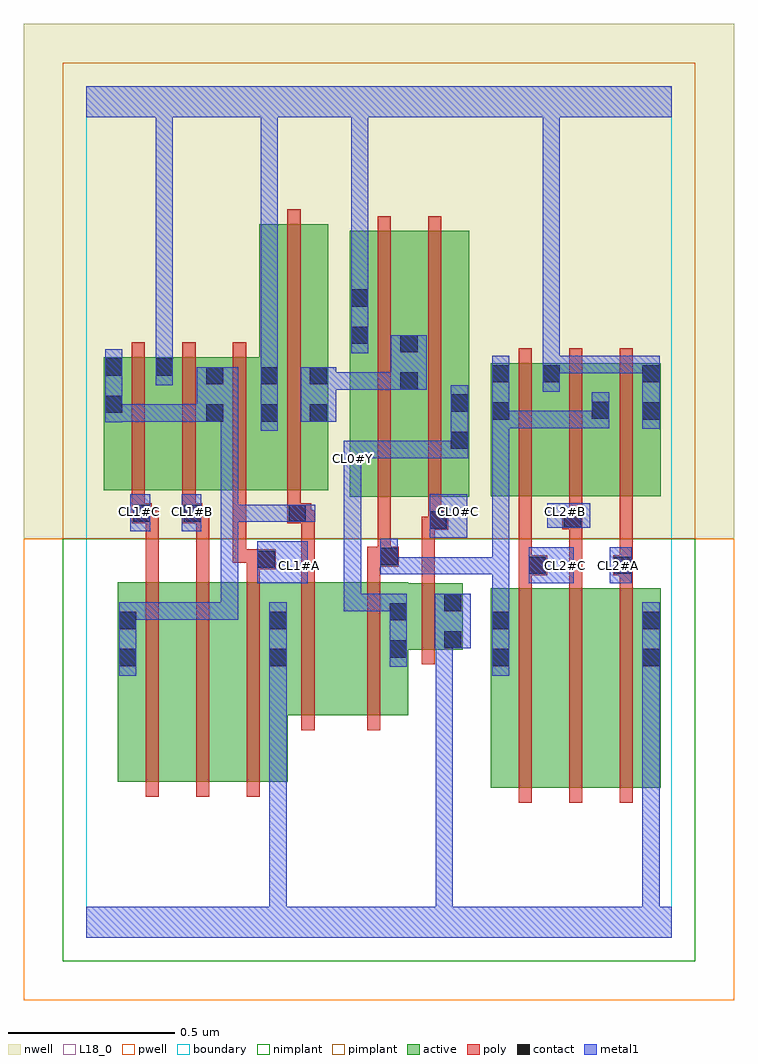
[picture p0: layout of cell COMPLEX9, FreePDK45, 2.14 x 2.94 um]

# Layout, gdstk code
import gdstk
lib = gdstk.Library(unit=1e-6, precision=1e-09)
def R(c, l, rs):  # rectangles x0, y0, x1, y1
    for r in rs: c.add(gdstk.rectangle(r[:2], r[2:], *l))
def A(c, l, x, y, w, h, nx, ny, dx, dy):  # array of equal rectangles
    R(c, l, [(x+i*dx, y+j*dy, x+i*dx+w, y+j*dy+h) for i in range(nx) for j in range(ny)])
active = (1, 0)
pwell = (2, 0)
nwell = (3, 0)
nimplant = (4, 0)
pimplant = (5, 0)
poly = (9, 0)
contact = (10, 0)
metal1 = (11, 0)
L18_0 = (18, 0)
boundary = (235, 0)

complex9 = lib.new_cell('COMPLEX9')
R(complex9, active, [(1.216,0.45,1.396,1.05), (1.396,0.45,1.548,1.05), (1.548,0.45,1.728,1.05), (0.094,0.468,0.274,1.068), (0.274,0.468,0.426,1.068), (0.426,0.468,0.606,1.068), (0.094,0.556,0.154,1.068), (1.216,0.556,1.276,1.05), (1.668,0.556,1.728,1.05), (0.546,0.668,0.742,1.068), (0.742,0.668,0.968,1.068), (0.908,0.668,0.968,1.066), (0.546,0.756,0.606,0.984), (0.908,0.866,1.132,1.066), (1.072,0.866,1.132,1.066), (0.792,1.326,0.852,2.044), (0.792,1.326,1,2.126), (0.94,1.326,1.152,2.126), (1.092,1.326,1.152,2.044), (1.216,1.328,1.276,1.728), (1.216,1.328,1.428,1.728), (1.368,1.328,1.428,1.726), (1.368,1.328,1.576,1.728), (1.516,1.328,1.728,1.728), (1.516,1.328,1.576,1.644), (1.668,1.328,1.728,1.728), (0.052,1.346,0.112,1.746), (0.052,1.346,0.264,1.746), (0.204,1.346,0.264,1.746), (0.204,1.346,0.416,1.746), (0.356,1.346,0.58,1.746), (0.356,1.346,0.416,1.72), (0.52,1.346,0.728,2.146), (0.52,1.346,0.58,1.872), (0.668,1.346,0.728,2.146), (0.94,1.644,1,2.044)])
R(complex9, pwell, [(-0.188,-0.188,1.948,1.2)])
R(complex9, nwell, [(-0.188,1.2,1.948,2.748)])
R(complex9, nimplant, [(-0.072,-0.072,1.832,1.2)])
R(complex9, pimplant, [(-0.072,1.2,1.832,2.632)])
A(complex9, poly, 1.3, 0.406, 0.04, 0.688, 3, 1, 0.152, 0)
A(complex9, poly, 0.178, 0.424, 0.04, 0.688, 3, 1, 0.152, 0)
A(complex9, poly, 1.3, 1.284, 0.04, 0.488, 3, 1, 0.152, 0)
A(complex9, poly, 0.136, 1.302, 0.04, 0.488, 3, 1, 0.152, 0)
R(complex9, poly, [(0.646,0.624,0.686,1.112), (0.844,0.624,0.884,1.112), (1.008,0.822,1.048,1.11), (1.3,1.054,1.34,1.13), (1.452,1.054,1.492,1.268), (1.604,1.054,1.644,1.13), (1.008,1.07,1.048,1.266), (0.178,1.072,0.218,1.286), (0.33,1.072,0.37,1.286), (0.482,1.072,0.522,1.148), (0.646,1.072,0.686,1.286), (0.844,1.072,0.884,1.156), (1.3,1.09,1.386,1.15), (1.584,1.09,1.644,1.15), (0.482,1.108,0.57,1.168), (1.3,1.11,1.34,1.324), (1.3,1.11,1.34,1.15), (1.3,1.11,1.34,1.15), (1.604,1.11,1.644,1.324), (1.604,1.11,1.644,1.15), (1.604,1.11,1.644,1.15), (0.844,1.116,0.94,1.176), (0.44,1.128,0.48,1.342), (0.44,1.128,0.522,1.168), (0.482,1.128,0.522,1.168), (0.876,1.136,0.916,1.176), (0.876,1.136,0.916,1.176), (0.876,1.136,0.916,1.322), (1.008,1.226,1.068,1.266), (1.028,1.226,1.068,1.266), (1.028,1.226,1.088,1.286), (1.432,1.228,1.492,1.288), (1.452,1.228,1.492,1.268), (1.452,1.228,1.492,1.268), (0.136,1.246,0.196,1.306), (0.156,1.246,0.196,1.286), (0.156,1.246,0.218,1.286), (0.288,1.246,0.348,1.306), (0.308,1.246,0.348,1.286), (0.308,1.246,0.37,1.286), (0.604,1.246,0.676,1.306), (0.636,1.246,0.676,1.286), (0.636,1.246,0.686,1.286), (1.028,1.246,1.068,1.322), (1.452,1.248,1.492,1.324), (0.136,1.266,0.176,1.342), (0.288,1.266,0.328,1.342), (0.604,1.266,0.644,1.342), (0.876,1.282,0.916,2.17), (1.028,1.282,1.068,2.17), (0.604,1.302,0.644,2.19)])
R(complex9, contact, [(0.098,0.816,0.15,0.868), (0.55,0.816,0.602,0.868), (1.22,0.816,1.272,0.868), (1.672,0.816,1.724,0.868), (0.912,0.842,0.964,0.894), (1.076,0.87,1.128,0.922), (0.098,0.928,0.15,0.98), (0.55,0.928,0.602,0.98), (1.22,0.928,1.272,0.98), (1.672,0.928,1.724,0.98), (0.912,0.954,0.964,1.006), (1.076,0.982,1.128,1.034), (1.33,1.094,1.382,1.146), (1.588,1.094,1.64,1.146), (0.514,1.112,0.566,1.164), (0.884,1.12,0.936,1.172), (1.032,1.23,1.084,1.282), (1.436,1.232,1.488,1.284), (0.14,1.25,0.192,1.302), (0.292,1.25,0.344,1.302), (0.608,1.25,0.66,1.302), (1.096,1.47,1.148,1.522), (0.36,1.552,0.412,1.604), (0.524,1.552,0.576,1.604), (0.672,1.552,0.724,1.604), (1.22,1.558,1.272,1.61), (1.672,1.558,1.724,1.61), (1.52,1.56,1.572,1.612), (0.056,1.578,0.108,1.63), (1.096,1.582,1.148,1.634), (0.944,1.648,0.996,1.7), (0.36,1.664,0.412,1.716), (0.524,1.664,0.576,1.716), (0.672,1.664,0.724,1.716), (1.22,1.67,1.272,1.722), (1.372,1.67,1.424,1.722), (1.672,1.67,1.724,1.722), (0.056,1.69,0.108,1.742), (0.208,1.69,0.26,1.742), (0.944,1.76,0.996,1.812), (0.796,1.786,0.848,1.838), (0.796,1.898,0.848,1.95)])
R(complex9, metal1, [(0,0,1.76,0.092), (0.55,0.04,0.602,0.092), (0.55,0.04,0.602,0.092), (0.55,0.04,0.602,0.092), (0.55,0.04,0.602,0.092), (0.55,0.04,0.602,0.092), (0.55,0.04,0.602,0.092), (0.55,0.04,0.602,0.092), (0.55,0.04,0.602,0.092), (0.55,0.04,0.602,0.84), (1.05,0.04,1.102,0.092), (1.05,0.04,1.102,0.092), (1.05,0.04,1.102,0.092), (1.05,0.04,1.102,0.092), (1.05,0.04,1.102,0.202), (1.672,0.04,1.724,0.092), (1.672,0.04,1.724,0.092), (1.672,0.04,1.724,0.092), (1.672,0.04,1.724,0.092), (1.672,0.04,1.724,0.092), (1.672,0.04,1.724,0.092), (1.672,0.04,1.724,0.092), (1.672,0.04,1.724,0.092), (1.672,0.04,1.724,0.84), (1.05,0.15,1.102,0.202), (1.05,0.15,1.102,0.202), (1.05,0.15,1.102,0.202), (1.05,0.15,1.102,0.202), (1.05,0.15,1.102,0.202), (1.05,0.15,1.102,0.922), (0.098,0.788,0.15,1.008), (0.55,0.788,0.602,1.008), (1.22,0.788,1.272,1.008), (1.672,0.788,1.724,1.008), (0.912,0.814,0.964,1.034), (1.048,0.87,1.156,1.034), (1.05,0.87,1.102,0.922), (1.05,0.87,1.102,0.922), (1.05,0.87,1.102,0.922), (1.05,0.87,1.102,0.922), (1.05,0.87,1.102,0.922), (1.05,0.87,1.102,0.922), (0.098,0.956,0.15,1.008), (0.098,0.956,0.15,1.008), (0.098,0.956,0.274,1.008), (0.222,0.956,0.274,1.008), (0.222,0.956,0.274,1.008), (0.222,0.956,0.274,1.008), (0.222,0.956,0.456,1.008), (0.404,0.956,0.456,1.008), (0.404,0.956,0.456,1.008), (0.404,0.956,0.456,1.008), (0.404,0.956,0.456,1.302), (1.22,0.956,1.272,1.144), (0.774,0.982,0.826,1.034), (0.774,0.982,0.964,1.034), (0.774,0.982,0.826,1.438), (0.912,0.982,0.964,1.034), (0.912,0.982,0.964,1.034), (0.514,1.066,0.666,1.192), (1.33,1.066,1.466,1.174), (1.574,1.066,1.64,1.174), (0.884,1.092,0.936,1.144), (0.884,1.092,0.936,1.144), (0.884,1.092,0.936,1.2), (0.884,1.092,1.162,1.144), (1.11,1.092,1.162,1.144), (1.11,1.092,1.162,1.144), (1.11,1.092,1.162,1.144), (1.11,1.092,1.272,1.144), (1.22,1.092,1.272,1.144), (1.22,1.092,1.272,1.144), (1.22,1.092,1.272,1.144), (1.22,1.092,1.272,1.582), (1.032,1.202,1.146,1.334), (0.132,1.222,0.192,1.334), (0.286,1.222,0.346,1.334), (1.386,1.232,1.516,1.306), (0.404,1.25,0.456,1.302), (0.404,1.25,0.456,1.302), (0.404,1.25,0.456,1.302), (0.404,1.25,0.586,1.302), (0.404,1.25,0.456,1.604), (0.534,1.25,0.586,1.302), (0.534,1.25,0.632,1.302), (0.58,1.25,0.688,1.302), (0.774,1.386,0.826,1.494), (0.774,1.442,0.826,1.494), (0.774,1.442,0.826,1.494), (0.774,1.442,0.826,1.494), (0.774,1.442,0.826,1.494), (0.774,1.442,0.936,1.494), (0.884,1.442,0.936,1.494), (0.884,1.442,0.936,1.494), (0.884,1.442,0.936,1.494), (0.884,1.442,1.148,1.494), (1.096,1.442,1.148,1.494), (1.096,1.442,1.148,1.494), (1.096,1.442,1.148,1.662), (0.524,1.524,0.576,1.744), (1.22,1.53,1.272,1.75), (1.672,1.53,1.724,1.75), (1.22,1.532,1.272,1.584), (1.22,1.532,1.272,1.584), (1.22,1.532,1.382,1.584), (1.33,1.532,1.382,1.584), (1.33,1.532,1.382,1.584), (1.33,1.532,1.382,1.584), (1.33,1.532,1.572,1.584), (1.52,1.532,1.572,1.64), (0.056,1.55,0.108,1.77), (0.056,1.552,0.108,1.604), (0.056,1.552,0.108,1.604), (0.056,1.552,0.274,1.604), (0.222,1.552,0.274,1.604), (0.222,1.552,0.274,1.604), (0.222,1.552,0.274,1.604), (0.222,1.552,0.384,1.604), (0.332,1.552,0.456,1.716), (0.644,1.552,0.752,1.716), (1.372,1.642,1.424,1.75), (0.7,1.648,0.752,1.7), (0.7,1.648,0.752,1.7), (0.7,1.648,0.968,1.7), (0.916,1.648,0.968,1.7), (0.916,1.648,0.968,1.7), (0.916,1.648,1.024,1.812), (0.208,1.662,0.26,1.77), (0.524,1.692,0.576,1.744), (0.524,1.692,0.576,1.744), (0.524,1.692,0.576,1.744), (0.524,1.692,0.576,1.744), (0.524,1.692,0.576,2.52), (1.372,1.698,1.424,1.75), (1.372,1.698,1.424,1.75), (1.372,1.698,1.424,1.75), (1.372,1.698,1.424,1.75), (1.372,1.698,1.424,1.75), (1.372,1.698,1.424,1.75), (1.372,1.698,1.424,1.75), (1.372,1.698,1.424,1.75), (1.372,1.698,1.534,1.75), (1.372,1.698,1.424,2.52), (1.482,1.698,1.534,1.75), (1.482,1.698,1.724,1.75), (1.672,1.698,1.724,1.75), (1.672,1.698,1.724,1.75), (0.208,1.718,0.26,1.77), (0.208,1.718,0.26,1.77), (0.208,1.718,0.26,2.52), (0.796,1.758,0.848,1.978), (0.796,1.926,0.848,1.978), (0.796,1.926,0.848,1.978), (0.796,1.926,0.848,1.978), (0.796,1.926,0.848,1.978), (0.796,1.926,0.848,1.978), (0.796,1.926,0.848,1.978), (0.796,1.926,0.848,2.52), (0,2.468,1.76,2.56), (0.208,2.468,0.26,2.52), (0.208,2.468,0.26,2.52), (0.208,2.468,0.26,2.52), (0.208,2.468,0.26,2.52), (0.208,2.468,0.26,2.52), (0.208,2.468,0.26,2.52), (0.208,2.468,0.26,2.52), (0.208,2.468,0.26,2.52), (0.208,2.468,0.26,2.52), (0.208,2.468,0.26,2.52), (0.208,2.468,0.26,2.52), (0.208,2.468,0.26,2.52), (0.208,2.468,0.26,2.52), (0.208,2.468,0.26,2.52), (0.524,2.468,0.576,2.52), (0.524,2.468,0.576,2.52), (0.524,2.468,0.576,2.52), (0.524,2.468,0.576,2.52), (0.796,2.468,0.848,2.52), (0.796,2.468,0.848,2.52), (1.372,2.468,1.424,2.52), (1.372,2.468,1.424,2.52), (1.372,2.468,1.424,2.52), (1.372,2.468,1.424,2.52), (1.372,2.468,1.424,2.52), (1.372,2.468,1.424,2.52), (1.372,2.468,1.424,2.52), (1.372,2.468,1.424,2.52), (1.372,2.468,1.424,2.52), (1.372,2.468,1.424,2.52)])
R(complex9, L18_0, [(0,0,1.76,0.092), (0.55,0.04,0.602,0.092), (0.55,0.04,0.602,0.092), (0.55,0.04,0.602,0.092), (0.55,0.04,0.602,0.092), (0.55,0.04,0.602,0.092), (0.55,0.04,0.602,0.092), (0.55,0.04,0.602,0.092), (0.55,0.04,0.602,0.092), (0.55,0.04,0.602,0.84), (1.05,0.04,1.102,0.092), (1.05,0.04,1.102,0.092), (1.05,0.04,1.102,0.092), (1.05,0.04,1.102,0.092), (1.05,0.04,1.102,0.202), (1.672,0.04,1.724,0.092), (1.672,0.04,1.724,0.092), (1.672,0.04,1.724,0.092), (1.672,0.04,1.724,0.092), (1.672,0.04,1.724,0.092), (1.672,0.04,1.724,0.092), (1.672,0.04,1.724,0.092), (1.672,0.04,1.724,0.092), (1.672,0.04,1.724,0.84), (1.05,0.15,1.102,0.202), (1.05,0.15,1.102,0.202), (1.05,0.15,1.102,0.202), (1.05,0.15,1.102,0.202), (1.05,0.15,1.102,0.202), (1.05,0.15,1.102,0.922), (0.55,0.788,0.602,1.008), (1.672,0.788,1.724,1.008), (0.912,0.814,0.964,1.034), (1.048,0.87,1.156,1.034), (1.05,0.87,1.102,0.922), (1.05,0.87,1.102,0.922), (1.05,0.87,1.102,0.922), (1.05,0.87,1.102,0.922), (1.05,0.87,1.102,0.922), (1.05,0.87,1.102,0.922), (0.774,0.982,0.826,1.034), (0.774,0.982,0.826,1.438), (0.774,0.982,0.964,1.034), (0.912,0.982,0.964,1.034), (0.912,0.982,0.964,1.034), (0.514,1.066,0.666,1.192), (1.33,1.066,1.466,1.174), (1.574,1.066,1.64,1.174), (0.614,1.094,0.666,1.146), (1.414,1.094,1.466,1.146), (1.574,1.094,1.626,1.146), (1.032,1.202,1.146,1.334), (0.132,1.222,0.192,1.334), (0.286,1.222,0.346,1.334), (1.386,1.232,1.516,1.306), (0.134,1.254,0.186,1.306), (0.294,1.254,0.346,1.306), (1.094,1.254,1.146,1.306), (1.414,1.254,1.466,1.306), (0.774,1.386,0.826,1.494), (0.774,1.414,0.826,1.466), (0.774,1.442,0.826,1.494), (0.774,1.442,0.826,1.494), (0.774,1.442,0.826,1.494), (0.774,1.442,0.826,1.494), (0.774,1.442,0.936,1.494), (0.884,1.442,0.936,1.494), (0.884,1.442,0.936,1.494), (0.884,1.442,0.936,1.494), (0.884,1.442,1.148,1.494), (1.096,1.442,1.148,1.494), (1.096,1.442,1.148,1.494), (1.096,1.442,1.148,1.662), (0.524,1.524,0.576,1.744), (1.672,1.53,1.724,1.75), (1.372,1.642,1.424,1.75), (0.208,1.662,0.26,1.77), (0.524,1.692,0.576,1.744), (0.524,1.692,0.576,1.744), (0.524,1.692,0.576,1.744), (0.524,1.692,0.576,1.744), (0.524,1.692,0.576,2.52), (1.372,1.698,1.424,1.75), (1.372,1.698,1.424,1.75), (1.372,1.698,1.424,1.75), (1.372,1.698,1.424,1.75), (1.372,1.698,1.424,1.75), (1.372,1.698,1.424,1.75), (1.372,1.698,1.424,1.75), (1.372,1.698,1.424,1.75), (1.372,1.698,1.534,1.75), (1.372,1.698,1.424,2.52), (1.482,1.698,1.534,1.75), (1.482,1.698,1.724,1.75), (1.672,1.698,1.724,1.75), (1.672,1.698,1.724,1.75), (0.208,1.718,0.26,1.77), (0.208,1.718,0.26,1.77), (0.208,1.718,0.26,2.52), (0.796,1.758,0.848,1.978), (0.796,1.926,0.848,1.978), (0.796,1.926,0.848,1.978), (0.796,1.926,0.848,1.978), (0.796,1.926,0.848,1.978), (0.796,1.926,0.848,1.978), (0.796,1.926,0.848,1.978), (0.796,1.926,0.848,2.52), (0,2.468,1.76,2.56), (0.208,2.468,0.26,2.52), (0.208,2.468,0.26,2.52), (0.208,2.468,0.26,2.52), (0.208,2.468,0.26,2.52), (0.208,2.468,0.26,2.52), (0.208,2.468,0.26,2.52), (0.208,2.468,0.26,2.52), (0.208,2.468,0.26,2.52), (0.208,2.468,0.26,2.52), (0.208,2.468,0.26,2.52), (0.208,2.468,0.26,2.52), (0.208,2.468,0.26,2.52), (0.208,2.468,0.26,2.52), (0.208,2.468,0.26,2.52), (0.524,2.468,0.576,2.52), (0.524,2.468,0.576,2.52), (0.524,2.468,0.576,2.52), (0.524,2.468,0.576,2.52), (0.796,2.468,0.848,2.52), (0.796,2.468,0.848,2.52), (1.372,2.468,1.424,2.52), (1.372,2.468,1.424,2.52), (1.372,2.468,1.424,2.52), (1.372,2.468,1.424,2.52), (1.372,2.468,1.424,2.52), (1.372,2.468,1.424,2.52), (1.372,2.468,1.424,2.52), (1.372,2.468,1.424,2.52), (1.372,2.468,1.424,2.52), (1.372,2.468,1.424,2.52)])
R(complex9, boundary, [(0,0,1.76,2.56)])
complex9.add(gdstk.Label('CL0#C', (1.12,1.28), layer=11, texttype=0))
complex9.add(gdstk.Label('CL0#Y', (0.8,1.44), layer=11, texttype=0))
complex9.add(gdstk.Label('CL1#A', (0.64,1.12), layer=11, texttype=0))
complex9.add(gdstk.Label('CL1#B', (0.32,1.28), layer=11, texttype=0))
complex9.add(gdstk.Label('CL1#C', (0.16,1.28), layer=11, texttype=0))
complex9.add(gdstk.Label('CL2#A', (1.6,1.12), layer=11, texttype=0))
complex9.add(gdstk.Label('CL2#B', (1.44,1.28), layer=11, texttype=0))
complex9.add(gdstk.Label('CL2#C', (1.44,1.12), layer=11, texttype=0))

lib.write_gds('COMPLEX9.gds')
